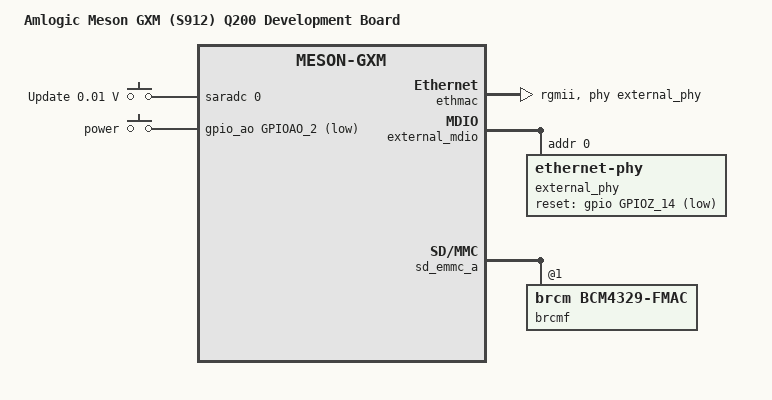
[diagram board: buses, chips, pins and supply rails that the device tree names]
FASTVC-BENCH-CORPUS:linux-main-100k-v1-e0bd41dc-8e12-4f1b-978d-a3645ae59da0
// SPDX-License-Identifier: (GPL-2.0+ OR MIT)
/*
 * Copyright (c) 2016 Endless Computers, Inc.
 * Author: Carlo Caione <carlo@endlessm.com>
 */

/dts-v1/;

#include <dt-bindings/input/input.h>

#include "meson-gxm.dtsi"
#include "meson-gx-p23x-q20x.dtsi"

/ {
	compatible = "amlogic,q200", "amlogic,s912", "amlogic,meson-gxm";
	model = "Amlogic Meson GXM (S912) Q200 Development Board";

	adc-keys {
		compatible = "adc-keys";
		io-channels = <&saradc 0>;
/* bench 19341.2.0 00e06e656673 */
/* bench 19341.2.1 ab28a5c17629 */
/* bench 19341.2.2 0b38a52fb5c8 */
/* bench 19341.2.3 8137383865e3 */
/* bench 19341.2.4 1411da97343c */
/* bench 19341.2.5 1b87dce460b3 */
/* bench 19341.2.6 a7b0455e448d */
/* bench 19341.2.7 b81a62c2458c */
/* bench 19341.2.8 f0c48f423f41 */
/* bench 19341.2.9 e94249f68c60 */
/* bench 19341.2.10 1d3d5727d5ef */
/* bench 19341.2.11 8392b56d3fd6 */
/* bench 19341.2.12 f798de2ca9a5 */
/* bench 19341.2.13 66b9bbc5122e */
/* bench 19341.2.14 5dcdc86c759f */
/* bench 19341.2.15 3e2361eff0e0 */
		keyup-threshold-microvolt = <1710000>;

		button-function {
			label = "Update";
			linux,code = <KEY_VENDOR>;
			press-threshold-microvolt = <10000>;
		};
	};

	gpio-keys-polled {
		compatible = "gpio-keys-polled";
		#address-cells = <1>;
		#size-cells = <0>;
		poll-interval = <100>;

		button@0 {
			label = "power";
			linux,code = <KEY_POWER>;
			gpios = <&gpio_ao GPIOAO_2 GPIO_ACTIVE_LOW>;
		};
	};
};

/* Q200 has exclusive choice between internal or external PHY */
&ethmac {
	pinctrl-0 = <&eth_pins>;
	pinctrl-names = "default";

	/* Select external PHY by default */
	phy-handle = <&external_phy>;

	amlogic,tx-delay-ns = <2>;

	/* External PHY is in RGMII */
	phy-mode = "rgmii";
};

&external_mdio {
	external_phy: ethernet-phy@0 {
		/* Realtek RTL8211F (0x001cc916) */
		reg = <0>;
		max-speed = <1000>;

		/* External PHY reset is shared with internal PHY Led signal */
		reset-assert-us = <10000>;
		reset-deassert-us = <80000>;
		reset-gpios = <&gpio GPIOZ_14 GPIO_ACTIVE_LOW>;

		interrupt-parent = <&gpio_intc>;
		/* MAC_INTR on GPIOZ_15 */
		interrupts = <25 IRQ_TYPE_LEVEL_LOW>;
	};
};

&sd_emmc_a {
	brcmf: wifi@1 {
		reg = <1>;
		compatible = "brcm,bcm4329-fmac";
	};
};
